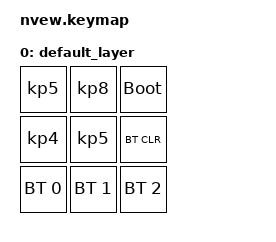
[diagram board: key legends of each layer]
#include <behaviors.dtsi>
#include <dt-bindings/zmk/keys.h>
#include <dt-bindings/zmk/bt.h>

/ {  
    keymap {
        compatible = "zmk,keymap";

        default_layer {
            bindings = <
                &kp KP_N5       &kp KP_N8       &bootloader
                &kp KP_N4       &kp KP_N5       &bt BT_CLR
                &bt BT_SEL 0    &bt BT_SEL 1    &bt BT_SEL 2
            >;
        }; 
    };
};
